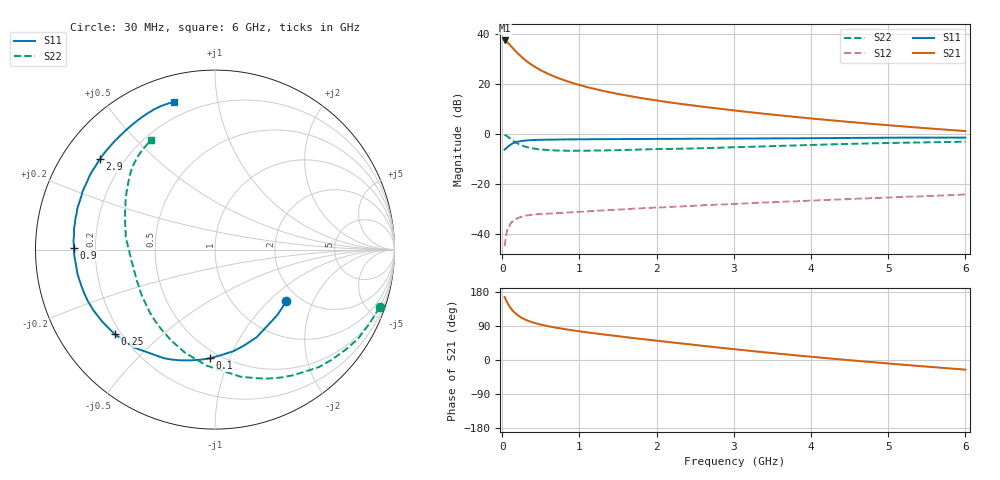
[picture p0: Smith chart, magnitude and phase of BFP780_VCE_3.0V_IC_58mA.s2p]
! Infineon Technologies  Discrete & RF Semiconductors
! BFP780
! VCE =  3.0 V,  IC =  58 mA
! Common Emitter S-Parameters:  Jul 2015
# GHz  S  MA  R  50
!  f  S11  S21  S12  S22
! GHz  MAG  ANG  MAG  ANG  MAG  ANG  MAG  ANG
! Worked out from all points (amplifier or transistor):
!   75 points, 30 MHz to 6 GHz, reference 50 ohm
!   highest |S21| = 37.6 dB at 30 MHz (marker M1)
!   |S21| within 3 dB of that: start of sweep to 134 MHz
!   unconditionally stable (mu >= 1): 1.937 GHz to end of sweep
!   at 150 MHz: K = 0.14, MSG = 34.2 dB, |S12| = -34.4 dB
!   at 2.3 GHz: K = 1.09, MAG = 18.7 dB, |S12| = -29.0 dB
!   at 6 GHz: K = 1.29, MAG = 9.5 dB, |S12| = -24.2 dB
!   S11 on the Smith chart (normalised r, x): 30 MHz: 1.71, -1.29; 100 MHz: 0.44, -0.85; 250 MHz: 0.18, -0.36; 900 MHz: 0.12, +0.01; 2.9 GHz: 0.11, +0.34; 6 GHz: 0.12, +0.75
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0.03  0.4904 -35.7  75.55 166.4  0.0057 68.8  0.9723 -19.3
0.05  0.5166 -56.1  72.28 157.4  0.0093 64.5  0.9388 -32.0
0.06  0.5408 -64.7  70.3 153.5  0.0112 61.8  0.9158 -37.7
0.08  0.5755 -79.8  65.83 146.1  0.0131 63.6  0.8738 -48.5
0.1  0.6064 -92.6  61.06 139.7  0.0154 55.7  0.8233 -58.4
0.12  0.634 -103.1  56.49 134.0  0.0172 49.1  0.7791 -67.2
0.15  0.6691 -115.3  50.26 127.1  0.0191 44.0  0.722 -78.7
0.2  0.7088 -129.8  41.7 118.1  0.0208 37.8  0.6478 -94.2
0.25  0.7313 -139.9  35.3 111.5  0.0222 31.7  0.598 -106.3
0.3  0.7457 -147.5  30.32 106.4  0.0234 29.3  0.5611 -116.1
0.35  0.7564 -153.2  26.5 102.2  0.0238 26.1  0.5349 -124.0
0.45  0.7682 -161.5  21.07 95.9  0.0249 23.8  0.5043 -136.0
0.6  0.778 -169.9  16.02 88.9  0.0255 21.8  0.4806 -148.4
0.9  0.7859 179.2  10.74 78.6  0.0273 21.6  0.4652 -163.5
1.1  0.7895 173.9  8.776 73.0  0.0284 21.8  0.4667 -170.1
1.5  0.7966 165.4  6.406 62.9  0.0309 23.0  0.4786 -179.5
2.1  0.8059 154.7  4.493 48.7  0.0343 23.6  0.5036 170.5
2.9  0.8154 141.8  3.124 30.8  0.0393 23.2  0.5411 157.9
3.1  0.8181 138.8  2.879 26.5  0.0406 22.8  0.5527 154.8
4.1  0.8326 124.9  2.001 6.8  0.0475 20.7  0.6141 141.7
5.1  0.8517 113.7  1.471 -10.9  0.0545 16.7  0.6696 130.4
6  0.8546 105.6  1.155 -25.4  0.0618 12.2  0.7065 120.3
